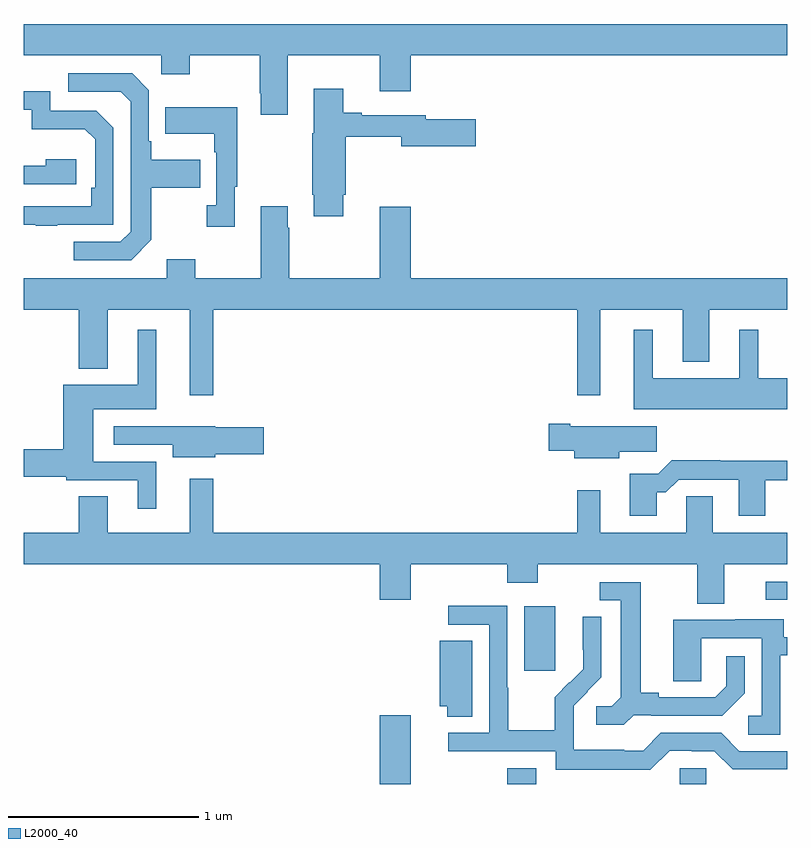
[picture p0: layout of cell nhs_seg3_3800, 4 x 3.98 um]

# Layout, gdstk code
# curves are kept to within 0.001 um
import gdstk
lib = gdstk.Library(unit=1e-6, precision=1e-09)
def R(c, l, rs):  # rectangles x0, y0, x1, y1
    for r in rs: c.add(gdstk.rectangle(r[:2], r[2:], *l))
def P(c, l, *ps):  # polygons
    for p in ps: c.add(gdstk.Polygon(p, *l))
L2000_40 = (2000, 40)

nhs_seg3_3800 = lib.new_cell('nhs_seg3_3800')
R(nhs_seg3_3800, L2000_40, [(308.864,730.4,309.028,730.759), (309.533,730.4,309.685,730.483), (310.437,730.4,310.575,730.482), (309.623,730.992,309.784,731.332), (310.887,731.364,311,731.46)])
P(nhs_seg3_3800, L2000_40, [(308.383,734.216),(308.864,734.216),(308.864,734.028),(309.028,734.028),(309.028,734.216),(311,734.216),(311,734.38),(307,734.38),(307,734.216),(307.722,734.216),(307.722,734.117),(307.869,734.117),(307.869,734.216),(308.236,734.216),(308.236,734.017),(308.243,734.017),(308.243,733.905),(308.383,733.905)],
  [(307.669,733.249),(307.669,733.522),(307.925,733.522),(307.925,733.669),(307.669,733.669),(307.669,733.765),(307.656,733.765),(307.656,734.034),(307.569,734.121),(307.233,734.121),(307.233,734.025),(307.509,734.025),(307.56,733.974),(307.56,733.293),(307.506,733.239),(307.263,733.239),(307.263,733.143),(307.563,733.143)],
  [(308.674,733.486),(308.687,733.486),(308.687,733.79),(308.978,733.79),(308.978,733.739),(309.367,733.739),(309.367,733.881),(309.106,733.881),(309.106,733.902),(308.77,733.902),(308.77,733.915),(308.674,733.915),(308.674,734.041),(308.519,734.041),(308.519,733.809),(308.512,733.809),(308.512,733.486),(308.519,733.486),(308.519,733.374),(308.674,733.374)],
  [(307.175,733.329),(307.47,733.329),(307.47,733.836),(307.38,733.926),(307.14,733.926),(307.14,734.028),(307,734.028),(307,733.932),(307.044,733.932),(307.044,733.829),(307.321,733.829),(307.374,733.776),(307.374,733.522),(307.354,733.522),(307.354,733.425),(307,733.425),(307,733.329),(307.063,733.329),(307.063,733.324),(307.175,733.324)],
  [(308.107,733.529),(308.119,733.529),(308.119,733.945),(307.741,733.945),(307.741,733.805),(307.998,733.805),(307.998,733.709),(308.01,733.709),(308.01,733.43),(307.959,733.43),(307.959,733.317),(308.107,733.317)],
  [(307.276,733.672),(307.115,733.672),(307.115,733.638),(307,733.638),(307,733.542),(307.276,733.542)],
  [(307.993,732.884),(309.9,732.884),(309.9,732.435),(310.021,732.435),(310.021,732.884),(310.451,732.884),(310.451,732.611),(310.591,732.611),(310.591,732.884),(311,732.884),(311,733.048),(309.028,733.048),(309.028,733.423),(308.864,733.423),(308.864,733.048),(308.391,733.048),(308.391,733.313),(308.383,733.313),(308.383,733.426),(308.243,733.426),(308.243,733.048),(307.899,733.048),(307.899,733.147),(307.751,733.147),(307.751,733.048),(307,733.048),(307,732.884),(307.289,732.884),(307.289,732.575),(307.441,732.575),(307.441,732.884),(307.871,732.884),(307.871,732.435),(307.993,732.435)],
  [(307.696,732.087),(307.366,732.087),(307.366,732.362),(307.696,732.362),(307.696,732.778),(307.598,732.778),(307.598,732.49),(307.208,732.49),(307.208,732.152),(307,732.152),(307,732.01),(307.224,732.01),(307.224,731.991),(307.598,731.991),(307.598,731.841),(307.696,731.841)],
  [(311,732.526),(310.846,732.526),(310.846,732.778),(310.748,732.778),(310.748,732.526),(310.294,732.526),(310.294,732.778),(310.196,732.778),(310.196,732.362),(311,732.362)],
  [(310.12,732.139),(310.315,732.139),(310.315,732.274),(309.862,732.274),(309.862,732.287),(309.75,732.287),(309.75,732.145),(309.884,732.145),(309.884,732.107),(310.12,732.107)],
  [(308.004,732.127),(308.257,732.127),(308.257,732.269),(308.004,732.269),(308.004,732.274),(307.785,732.274),(307.785,732.273),(307.473,732.273),(307.473,732.177),(307.781,732.177),(307.781,732.11),(308.004,732.11)],
  [(310.315,731.927),(310.364,731.927),(310.431,731.994),(310.745,731.994),(310.745,731.805),(310.885,731.805),(310.885,731.991),(311,731.991),(311,732.092),(310.649,732.092),(310.649,732.095),(310.394,732.095),(310.324,732.025),(310.175,732.025),(310.175,731.805),(310.315,731.805)],
  [(310.669,731.552),(311,731.552),(311,731.716),(310.609,731.716),(310.609,731.906),(310.47,731.906),(310.47,731.716),(310.021,731.716),(310.021,731.938),(309.9,731.938),(309.9,731.716),(307.993,731.716),(307.993,731.998),(307.871,731.998),(307.871,731.716),(307.441,731.716),(307.441,731.906),(307.289,731.906),(307.289,731.716),(307,731.716),(307,731.552),(308.864,731.552),(308.864,731.364),(309.028,731.364),(309.028,731.552),(309.533,731.552),(309.533,731.453),(309.693,731.453),(309.693,731.552),(310.529,731.552),(310.529,731.344),(310.669,731.344)],
  [(310.194,730.761),(310.288,730.761),(310.288,730.758),(310.66,730.758),(310.776,730.874),(310.776,731.068),(310.679,731.068),(310.679,730.911),(310.622,730.854),(310.327,730.854),(310.327,730.877),(310.231,730.877),(310.231,731.457),(310.017,731.457),(310.017,731.361),(310.127,731.361),(310.127,730.853),(310.08,730.806),(309.999,730.806),(309.999,730.709),(310.142,730.709)],
  [(310.383,730.575),(310.499,730.575),(310.499,730.572),(310.617,730.572),(310.713,730.476),(311,730.476),(311,730.572),(310.749,730.572),(310.653,730.668),(310.338,730.668),(310.245,730.575),(310.145,730.575),(310.145,730.579),(309.882,730.579),(309.882,730.713),(309.88,730.713),(309.88,730.81),(310.026,730.958),(310.026,731.276),(309.929,731.276),(309.929,731.104),(309.932,731.104),(309.932,731),(309.861,730.929),(309.858,730.932),(309.781,730.855),(309.781,730.681),(309.537,730.681),(309.537,730.904),(309.534,730.904),(309.534,731.334),(309.225,731.334),(309.225,731.235),(309.438,731.235),(309.438,730.668),(309.225,730.668),(309.225,730.572),(309.786,730.572),(309.786,730.475),(310.283,730.475)],
  [(310.962,731.073),(311,731.073),(311,731.169),(310.981,731.169),(310.981,731.263),(310.727,731.263),(310.727,731.259),(310.403,731.259),(310.403,730.939),(310.548,730.939),(310.548,731.163),(310.866,731.163),(310.866,730.758),(310.794,730.758),(310.794,730.657),(310.962,730.657)],
  [(309.349,731.15),(309.179,731.15),(309.179,730.806),(309.218,730.806),(309.218,730.753),(309.349,730.753)])

lib.write_gds('nhs_seg3_3800.gds')
